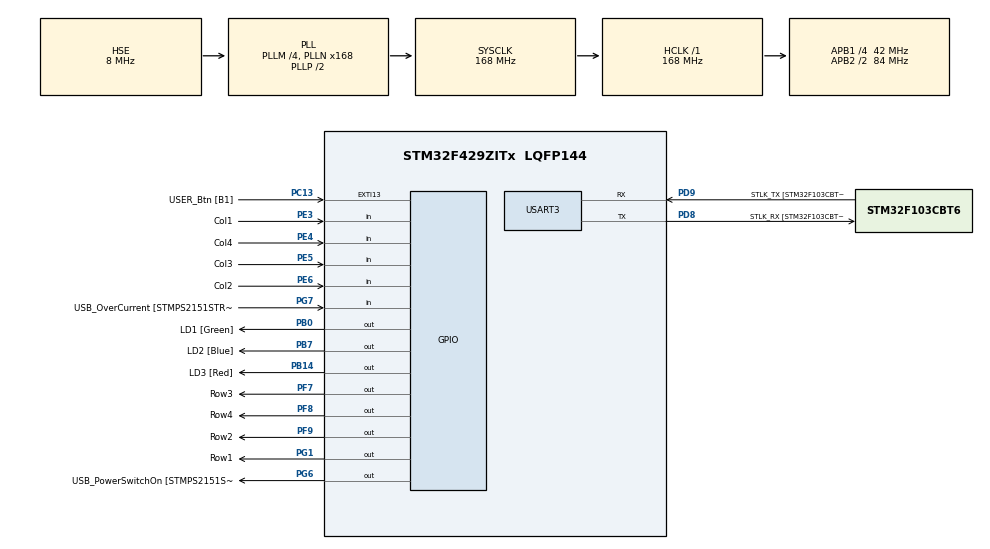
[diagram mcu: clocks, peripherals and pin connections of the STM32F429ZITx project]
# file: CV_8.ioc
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Mcu.Family=STM32F4
Mcu.Name=STM32F429ZITx
Mcu.Package=LQFP144
NVIC.PriorityGroup=NVIC_PRIORITYGROUP_4
NVIC.TIM3_IRQn=true\:0\:0\:false\:false\:true\:true\:true
PA1.GPIO_Label=RMII_REF_CLK [LAN8742A-CZ-TR_REFCLK0]
PA1.Signal=ETH_REF_CLK
PA10.GPIO_Label=USB_ID
PA10.Signal=USB_OTG_FS_ID
PA11.GPIO_Label=USB_DM
PA11.Signal=USB_OTG_FS_DM
PA12.GPIO_Label=USB_DP
PA12.Signal=USB_OTG_FS_DP
PA13.GPIO_Label=TMS
PA13.Mode=Serial_Wire
PA13.Signal=SYS_JTMS-SWDIO
PA14.GPIO_Label=TCK
PA14.Mode=Serial_Wire
PA14.Signal=SYS_JTCK-SWCLK
PA2.GPIO_Label=RMII_MDIO [LAN8742A-CZ-TR_MDIO]
PA2.Signal=ETH_MDIO
PA7.GPIO_Label=RMII_CRS_DV [LAN8742A-CZ-TR_CRS_DV]
PA7.Signal=ETH_CRS_DV
PA8.GPIO_Label=USB_SOF [TP1]
PA8.Signal=USB_OTG_FS_SOF
PA9.GPIO_Label=USB_VBUS
PA9.Signal=USB_OTG_FS_VBUS
PB0.GPIO_Label=LD1 [Green]
PB0.Signal=GPIO_Output
PB13.GPIO_Label=RMII_TXD1 [LAN8742A-CZ-TR_TXD1]
PB13.Signal=ETH_TXD1
PB14.GPIO_Label=LD3 [Red]
PB14.Signal=GPIO_Output
PB7.GPIO_Label=LD2 [Blue]
PB7.Signal=GPIO_Output
PC1.GPIO_Label=RMII_MDC [LAN8742A-CZ-TR_MDC]
PC1.Signal=ETH_MDC
PC13.GPIO_Label=USER_Btn [B1]
PC13.Signal=GPXTI13
PC14/OSC32_IN.Mode=LSE-External-Oscillator
PC14/OSC32_IN.Signal=RCC_OSC32_IN
PC15/OSC32_OUT.Mode=LSE-External-Oscillator
PC15/OSC32_OUT.Signal=RCC_OSC32_OUT
PC4.GPIO_Label=RMII_RXD0 [LAN8742A-CZ-TR_RXD0]
PC4.Signal=ETH_RXD0
PC5.GPIO_Label=RMII_RXD1 [LAN8742A-CZ-TR_RXD1]
PC5.Signal=ETH_RXD1
PD8.GPIO_Label=STLK_RX [STM32F103CBT6_PA3]
PD8.Mode=Asynchronous
PD8.Signal=USART3_TX
PD9.GPIO_Label=STLK_TX [STM32F103CBT6_PA2]
PD9.Mode=Asynchronous
PD9.Signal=USART3_RX
PE3.GPIO_Label=Col1
PE3.GPIO_PuPd=GPIO_PULLUP
PE3.Signal=GPIO_Input
PE4.GPIO_Label=Col4
PE4.GPIO_PuPd=GPIO_PULLUP
PE4.Signal=GPIO_Input
PE5.GPIO_Label=Col3
PE5.GPIO_PuPd=GPIO_PULLUP
PE5.Signal=GPIO_Input
PE6.GPIO_Label=Col2
PE6.GPIO_PuPd=GPIO_PULLUP
PE6.Signal=GPIO_Input
PF7.GPIO_Label=Row3
PF7.GPIO_ModeDefaultOutputPP=GPIO_MODE_OUTPUT_OD
PF7.Signal=GPIO_Output
PF8.GPIO_Label=Row4
PF8.GPIO_ModeDefaultOutputPP=GPIO_MODE_OUTPUT_OD
PF8.Signal=GPIO_Output
PF9.GPIO_Label=Row2
PF9.GPIO_ModeDefaultOutputPP=GPIO_MODE_OUTPUT_OD
PF9.Signal=GPIO_Output
PG1.GPIO_Label=Row1
PG1.GPIO_ModeDefaultOutputPP=GPIO_MODE_OUTPUT_OD
PG1.Signal=GPIO_Output
PG11.GPIO_Label=RMII_TX_EN [LAN8742A-CZ-TR_TXEN]
PG11.Signal=ETH_TX_EN
PG13.GPIO_Label=RMII_TXD0 [LAN8742A-CZ-TR_TXD0]
PG13.Signal=ETH_TXD0
PG6.GPIO_Label=USB_PowerSwitchOn [STMPS2151STR_EN]
PG6.Signal=GPIO_Output
PG7.GPIO_Label=USB_OverCurrent [STMPS2151STR_FAULT]
PG7.Signal=GPIO_Input
PH0/OSC_IN.GPIO_Label=MCO [STM32F103CBT6_PA8]
PH0/OSC_IN.Mode=HSE-External-Clock-Source
PH0/OSC_IN.Signal=RCC_OSC_IN
PH1/OSC_OUT.Mode=HSE-External-Clock-Source
PH1/OSC_OUT.Signal=RCC_OSC_OUT
ProjectManager.HeapSize=0x200
ProjectManager.StackSize=0x400
ProjectManager.TargetToolchain=STM32CubeIDE
RCC.48MHZClocksFreq_Value=48000000
RCC.AHBFreq_Value=168000000
RCC.APB1CLKDivider=RCC_HCLK_DIV4
RCC.APB1Freq_Value=42000000
RCC.APB1TimFreq_Value=84000000
RCC.APB2CLKDivider=RCC_HCLK_DIV2
RCC.APB2Freq_Value=84000000
RCC.APB2TimCLKDivider=2
RCC.APB2TimFreq_Value=168000000
RCC.CortexFreq_Value=168000000
RCC.HCLKFreq_Value=168000000
RCC.HSE_VALUE=8000000
RCC.HSI_VALUE=16000000
RCC.PLLM=4
RCC.PLLMUL=RCC_PLL_MUL9
RCC.PLLN=168
RCC.PLLQ=7
RCC.PLLSourceVirtual=RCC_PLLSOURCE_HSE
RCC.PRESCALERUSB=RCC_USBCLKSOURCE_PLL_DIV1_5
RCC.SYSCLKFreq_VALUE=168000000
RCC.SYSCLKSource=RCC_SYSCLKSOURCE_PLLCLK
RCC.SYSCLKSourceVirtual=RCC_SYSCLKSOURCE_PLLCLK
RCC.USBFreq_Value=48000000
RCC.VCOOutputFreq_Value=336000000
TIM3.AutoReloadPreload=TIM_AUTORELOAD_PRELOAD_ENABLE
TIM3.Period=99
TIM3.Prescaler=8399
USART3.VirtualMode=VM_ASYNC
VP_TIM3_VS_ClockSourceINT.Mode=Internal
board=NUCLEO-F429ZI

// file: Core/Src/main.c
/* USER CODE BEGIN Header */
/**
  ******************************************************************************
  * @file           : main.c
  * @brief          : Main program body
  ******************************************************************************
  * @attention
  *
  * <h2><center>&copy; Copyright (c) 2021 STMicroelectronics.
  * All rights reserved.</center></h2>
  *
  * This software component is licensed by ST under BSD 3-Clause license,
  * the "License"; You may not use this file except in compliance with the
  * License. You may obtain a copy of the License at:
  *                        opensource.org/licenses/BSD-3-Clause
  *
  ******************************************************************************
  */
/* USER CODE END Header */
#include "main.h"

/* USER CODE BEGIN Includes */
#include <stdio.h>
/* USER CODE END Includes */

/* USER CODE BEGIN PD */
int __io_putchar(int ch)
	{
	 ITM_SendChar(ch);
	return 0;
	}

/* USER CODE END PD */

TIM_HandleTypeDef htim3;

UART_HandleTypeDef huart3;

/* USER CODE BEGIN PV */
static volatile int8_t key;
/* USER CODE END PV */

void SystemClock_Config(void);
static void MX_GPIO_Init(void);
static void MX_USART3_UART_Init(void);
static void MX_TIM3_Init(void);

int main(void)
{

  /* MCU Configuration--------------------------------------------------------*/

  /* Reset of all peripherals, Initializes the Flash interface and the Systick. */
  HAL_Init();

  /* Configure the system clock */
  SystemClock_Config();

  /* Initialize all configured peripherals */
  MX_GPIO_Init();
  MX_USART3_UART_Init();
  MX_TIM3_Init();
  /* USER CODE BEGIN 2 */
  HAL_TIM_Base_Start_IT(&htim3);
  /* USER CODE END 2 */

  /* Infinite loop */
  /* USER CODE BEGIN WHILE */

  static const int lock[5] = {7,9,3,2,12};
  uint8_t index_lock = 0;
  uint32_t last;

  while (1)
  {

	  if(key != -1)
		  {
			  if(HAL_GetTick()-last > 5000)
			  {
				  index_lock = 0;
				  printf("out of time \n"); //if you do nothing
			  }

			  last=HAL_GetTick();
			  printf("press: %d \n", key);
			  HAL_Delay(500);

			  if(key == lock[index_lock])
			  {
				  index_lock++;

			  }
			  else
			  {
				  index_lock = 0;
			  }

			  //code compare
			  if(index_lock == (sizeof(lock)/sizeof(lock[0])))
			  {
				  printf("you are in \n");
				  HAL_GPIO_WritePin (LD1_GPIO_Port, LD1_Pin,GPIO_PIN_SET);
				  HAL_Delay(1000);
				  HAL_GPIO_WritePin (LD1_GPIO_Port, LD1_Pin,GPIO_PIN_RESET);
				  HAL_Delay(1000);
				  HAL_GPIO_WritePin (LD1_GPIO_Port, LD1_Pin,GPIO_PIN_SET);
				  HAL_Delay(5000);
				  HAL_GPIO_WritePin (LD1_GPIO_Port, LD1_Pin,GPIO_PIN_RESET);
			  }

			  key= -1;
		  }

	  /*
	  HAL_GPIO_TogglePin(LD1_GPIO_Port, LD1_Pin);
	  HAL_Delay(250);
	  printf("Hello World\n");
	  HAL_Delay(250);
	  */
    /* USER CODE END WHILE */

  }
}

void SystemClock_Config(void)
{
  RCC_OscInitTypeDef RCC_OscInitStruct = {0};
  RCC_ClkInitTypeDef RCC_ClkInitStruct = {0};

  /** Configure the main internal regulator output voltage
  */
  __HAL_RCC_PWR_CLK_ENABLE();
  __HAL_PWR_VOLTAGESCALING_CONFIG(PWR_REGULATOR_VOLTAGE_SCALE1);
  /** Initializes the RCC Oscillators according to the specified parameters
  * in the RCC_OscInitTypeDef structure.
  */
  RCC_OscInitStruct.OscillatorType = RCC_OSCILLATORTYPE_HSE;
  RCC_OscInitStruct.HSEState = RCC_HSE_BYPASS;
  RCC_OscInitStruct.PLL.PLLState = RCC_PLL_ON;
  RCC_OscInitStruct.PLL.PLLSource = RCC_PLLSOURCE_HSE;
  RCC_OscInitStruct.PLL.PLLM = 4;
  RCC_OscInitStruct.PLL.PLLN = 168;
  RCC_OscInitStruct.PLL.PLLP = RCC_PLLP_DIV2;
  RCC_OscInitStruct.PLL.PLLQ = 7;
  if (HAL_RCC_OscConfig(&RCC_OscInitStruct) != HAL_OK)
  {
    Error_Handler();
  }
  /** Initializes the CPU, AHB and APB buses clocks
  */
  RCC_ClkInitStruct.ClockType = RCC_CLOCKTYPE_HCLK|RCC_CLOCKTYPE_SYSCLK
                              |RCC_CLOCKTYPE_PCLK1|RCC_CLOCKTYPE_PCLK2;
  RCC_ClkInitStruct.SYSCLKSource = RCC_SYSCLKSOURCE_PLLCLK;
  RCC_ClkInitStruct.AHBCLKDivider = RCC_SYSCLK_DIV1;
  RCC_ClkInitStruct.APB1CLKDivider = RCC_HCLK_DIV4;
  RCC_ClkInitStruct.APB2CLKDivider = RCC_HCLK_DIV2;

  if (HAL_RCC_ClockConfig(&RCC_ClkInitStruct, FLASH_LATENCY_5) != HAL_OK)
  {
    Error_Handler();
  }
}

static void MX_TIM3_Init(void)
{

  TIM_ClockConfigTypeDef sClockSourceConfig = {0};
  TIM_MasterConfigTypeDef sMasterConfig = {0};

  htim3.Instance = TIM3;
  htim3.Init.Prescaler = 8399;
  htim3.Init.CounterMode = TIM_COUNTERMODE_UP;
  htim3.Init.Period = 99;
  htim3.Init.ClockDivision = TIM_CLOCKDIVISION_DIV1;
  htim3.Init.AutoReloadPreload = TIM_AUTORELOAD_PRELOAD_ENABLE;
  if (HAL_TIM_Base_Init(&htim3) != HAL_OK)
  {
    Error_Handler();
  }
  sClockSourceConfig.ClockSource = TIM_CLOCKSOURCE_INTERNAL;
  if (HAL_TIM_ConfigClockSource(&htim3, &sClockSourceConfig) != HAL_OK)
  {
    Error_Handler();
  }
  sMasterConfig.MasterOutputTrigger = TIM_TRGO_RESET;
  sMasterConfig.MasterSlaveMode = TIM_MASTERSLAVEMODE_DISABLE;
  if (HAL_TIMEx_MasterConfigSynchronization(&htim3, &sMasterConfig) != HAL_OK)
  {
    Error_Handler();
  }

}

static void MX_USART3_UART_Init(void)
{

  huart3.Instance = USART3;
  huart3.Init.BaudRate = 115200;
  huart3.Init.WordLength = UART_WORDLENGTH_8B;
  huart3.Init.StopBits = UART_STOPBITS_1;
  huart3.Init.Parity = UART_PARITY_NONE;
  huart3.Init.Mode = UART_MODE_TX_RX;
  huart3.Init.HwFlowCtl = UART_HWCONTROL_NONE;
  huart3.Init.OverSampling = UART_OVERSAMPLING_16;
  if (HAL_UART_Init(&huart3) != HAL_OK)
  {
    Error_Handler();
  }

}

static void MX_GPIO_Init(void)
{
  GPIO_InitTypeDef GPIO_InitStruct = {0};

  /* GPIO Ports Clock Enable */
  __HAL_RCC_GPIOE_CLK_ENABLE();
  __HAL_RCC_GPIOC_CLK_ENABLE();
  __HAL_RCC_GPIOF_CLK_ENABLE();
  __HAL_RCC_GPIOH_CLK_ENABLE();
  __HAL_RCC_GPIOA_CLK_ENABLE();
  __HAL_RCC_GPIOB_CLK_ENABLE();
  __HAL_RCC_GPIOG_CLK_ENABLE();
  __HAL_RCC_GPIOD_CLK_ENABLE();

  /*Configure GPIO pin Output Level */
  HAL_GPIO_WritePin(GPIOF, Row3_Pin|Row4_Pin|Row2_Pin, GPIO_PIN_RESET);

  /*Configure GPIO pin Output Level */
  HAL_GPIO_WritePin(GPIOB, LD1_Pin|LD3_Pin|LD2_Pin, GPIO_PIN_RESET);

  /*Configure GPIO pin Output Level */
  HAL_GPIO_WritePin(GPIOG, Row1_Pin|USB_PowerSwitchOn_Pin, GPIO_PIN_RESET);

  /*Configure GPIO pins : Col1_Pin Col4_Pin Col3_Pin Col2_Pin */
  GPIO_InitStruct.Pin = Col1_Pin|Col4_Pin|Col3_Pin|Col2_Pin;
  GPIO_InitStruct.Mode = GPIO_MODE_INPUT;
  GPIO_InitStruct.Pull = GPIO_PULLUP;
  HAL_GPIO_Init(GPIOE, &GPIO_InitStruct);

  /*Configure GPIO pin : USER_Btn_Pin */
  GPIO_InitStruct.Pin = USER_Btn_Pin;
  GPIO_InitStruct.Mode = GPIO_MODE_IT_RISING;
  GPIO_InitStruct.Pull = GPIO_NOPULL;
  HAL_GPIO_Init(USER_Btn_GPIO_Port, &GPIO_InitStruct);

  /*Configure GPIO pins : Row3_Pin Row4_Pin Row2_Pin */
  GPIO_InitStruct.Pin = Row3_Pin|Row4_Pin|Row2_Pin;
  GPIO_InitStruct.Mode = GPIO_MODE_OUTPUT_OD;
  GPIO_InitStruct.Pull = GPIO_NOPULL;
  GPIO_InitStruct.Speed = GPIO_SPEED_FREQ_LOW;
  HAL_GPIO_Init(GPIOF, &GPIO_InitStruct);

  /*Configure GPIO pins : RMII_MDC_Pin RMII_RXD0_Pin RMII_RXD1_Pin */
  GPIO_InitStruct.Pin = RMII_MDC_Pin|RMII_RXD0_Pin|RMII_RXD1_Pin;
  GPIO_InitStruct.Mode = GPIO_MODE_AF_PP;
  GPIO_InitStruct.Pull = GPIO_NOPULL;
  GPIO_InitStruct.Speed = GPIO_SPEED_FREQ_VERY_HIGH;
  GPIO_InitStruct.Alternate = GPIO_AF11_ETH;
  HAL_GPIO_Init(GPIOC, &GPIO_InitStruct);

  /*Configure GPIO pins : RMII_REF_CLK_Pin RMII_MDIO_Pin RMII_CRS_DV_Pin */
  GPIO_InitStruct.Pin = RMII_REF_CLK_Pin|RMII_MDIO_Pin|RMII_CRS_DV_Pin;
  GPIO_InitStruct.Mode = GPIO_MODE_AF_PP;
  GPIO_InitStruct.Pull = GPIO_NOPULL;
  GPIO_InitStruct.Speed = GPIO_SPEED_FREQ_VERY_HIGH;
  GPIO_InitStruct.Alternate = GPIO_AF11_ETH;
  HAL_GPIO_Init(GPIOA, &GPIO_InitStruct);

  /*Configure GPIO pins : LD1_Pin LD3_Pin LD2_Pin */
  GPIO_InitStruct.Pin = LD1_Pin|LD3_Pin|LD2_Pin;
  GPIO_InitStruct.Mode = GPIO_MODE_OUTPUT_PP;
  GPIO_InitStruct.Pull = GPIO_NOPULL;
  GPIO_InitStruct.Speed = GPIO_SPEED_FREQ_LOW;
  HAL_GPIO_Init(GPIOB, &GPIO_InitStruct);

  /*Configure GPIO pin : Row1_Pin */
  GPIO_InitStruct.Pin = Row1_Pin;
  GPIO_InitStruct.Mode = GPIO_MODE_OUTPUT_OD;
  GPIO_InitStruct.Pull = GPIO_NOPULL;
  GPIO_InitStruct.Speed = GPIO_SPEED_FREQ_LOW;
  HAL_GPIO_Init(Row1_GPIO_Port, &GPIO_InitStruct);

  /*Configure GPIO pin : RMII_TXD1_Pin */
  GPIO_InitStruct.Pin = RMII_TXD1_Pin;
  GPIO_InitStruct.Mode = GPIO_MODE_AF_PP;
  GPIO_InitStruct.Pull = GPIO_NOPULL;
  GPIO_InitStruct.Speed = GPIO_SPEED_FREQ_VERY_HIGH;
  GPIO_InitStruct.Alternate = GPIO_AF11_ETH;
  HAL_GPIO_Init(RMII_TXD1_GPIO_Port, &GPIO_InitStruct);

  /*Configure GPIO pin : USB_PowerSwitchOn_Pin */
  GPIO_InitStruct.Pin = USB_PowerSwitchOn_Pin;
  GPIO_InitStruct.Mode = GPIO_MODE_OUTPUT_PP;
  GPIO_InitStruct.Pull = GPIO_NOPULL;
  GPIO_InitStruct.Speed = GPIO_SPEED_FREQ_LOW;
  HAL_GPIO_Init(USB_PowerSwitchOn_GPIO_Port, &GPIO_InitStruct);

  /*Configure GPIO pin : USB_OverCurrent_Pin */
  GPIO_InitStruct.Pin = USB_OverCurrent_Pin;
  GPIO_InitStruct.Mode = GPIO_MODE_INPUT;
  GPIO_InitStruct.Pull = GPIO_NOPULL;
  HAL_GPIO_Init(USB_OverCurrent_GPIO_Port, &GPIO_InitStruct);

  /*Configure GPIO pins : USB_SOF_Pin USB_ID_Pin USB_DM_Pin USB_DP_Pin */
  GPIO_InitStruct.Pin = USB_SOF_Pin|USB_ID_Pin|USB_DM_Pin|USB_DP_Pin;
  GPIO_InitStruct.Mode = GPIO_MODE_AF_PP;
  GPIO_InitStruct.Pull = GPIO_NOPULL;
  GPIO_InitStruct.Speed = GPIO_SPEED_FREQ_VERY_HIGH;
  GPIO_InitStruct.Alternate = GPIO_AF10_OTG_FS;
  HAL_GPIO_Init(GPIOA, &GPIO_InitStruct);

  /*Configure GPIO pin : USB_VBUS_Pin */
  GPIO_InitStruct.Pin = USB_VBUS_Pin;
  GPIO_InitStruct.Mode = GPIO_MODE_INPUT;
  GPIO_InitStruct.Pull = GPIO_NOPULL;
  HAL_GPIO_Init(USB_VBUS_GPIO_Port, &GPIO_InitStruct);

  /*Configure GPIO pins : RMII_TX_EN_Pin RMII_TXD0_Pin */
  GPIO_InitStruct.Pin = RMII_TX_EN_Pin|RMII_TXD0_Pin;
  GPIO_InitStruct.Mode = GPIO_MODE_AF_PP;
  GPIO_InitStruct.Pull = GPIO_NOPULL;
  GPIO_InitStruct.Speed = GPIO_SPEED_FREQ_VERY_HIGH;
  GPIO_InitStruct.Alternate = GPIO_AF11_ETH;
  HAL_GPIO_Init(GPIOG, &GPIO_InitStruct);

}

/* USER CODE BEGIN 4 */
void HAL_TIM_PeriodElapsedCallback(TIM_HandleTypeDef *htim)
{
 static int row = 0;
 static const int keyboard[4][4] = {
 { 1, 2, 3, 21 },
 { 4, 5, 6, 22 },
 { 7, 8, 9, 23 },
 { 11, 0, 12, 24 },
 };
 if (key == -1) {
 if (HAL_GPIO_ReadPin(Col1_GPIO_Port, Col1_Pin) == GPIO_PIN_RESET) key = keyboard[row][0];
 if (HAL_GPIO_ReadPin(Col2_GPIO_Port, Col2_Pin) == GPIO_PIN_RESET) key = keyboard[row][1];
 if (HAL_GPIO_ReadPin(Col3_GPIO_Port, Col3_Pin) == GPIO_PIN_RESET) key = keyboard[row][2];
 if (HAL_GPIO_ReadPin(Col4_GPIO_Port, Col4_Pin) == GPIO_PIN_RESET) key = keyboard[row][3];

 }
 HAL_GPIO_WritePin(Row1_GPIO_Port, Row1_Pin, GPIO_PIN_SET);
 HAL_GPIO_WritePin(Row2_GPIO_Port, Row2_Pin, GPIO_PIN_SET);
 HAL_GPIO_WritePin(Row3_GPIO_Port, Row3_Pin, GPIO_PIN_SET);
 HAL_GPIO_WritePin(Row4_GPIO_Port, Row4_Pin, GPIO_PIN_SET);
 switch (row) {
 case 0: row = 1; HAL_GPIO_WritePin(Row2_GPIO_Port, Row2_Pin, GPIO_PIN_RESET); break;
 case 1: row = 2; HAL_GPIO_WritePin(Row3_GPIO_Port, Row3_Pin, GPIO_PIN_RESET); break;
 case 2: row = 3; HAL_GPIO_WritePin(Row4_GPIO_Port, Row4_Pin, GPIO_PIN_RESET); break;
 case 3: row = 0; HAL_GPIO_WritePin(Row1_GPIO_Port, Row1_Pin, GPIO_PIN_RESET); break;

 }
}
/* USER CODE END 4 */

void Error_Handler(void)
{
  __disable_irq();
  while (1)
  {
  }
}

/************************ (C) COPYRIGHT STMicroelectronics *****END OF FILE****/
